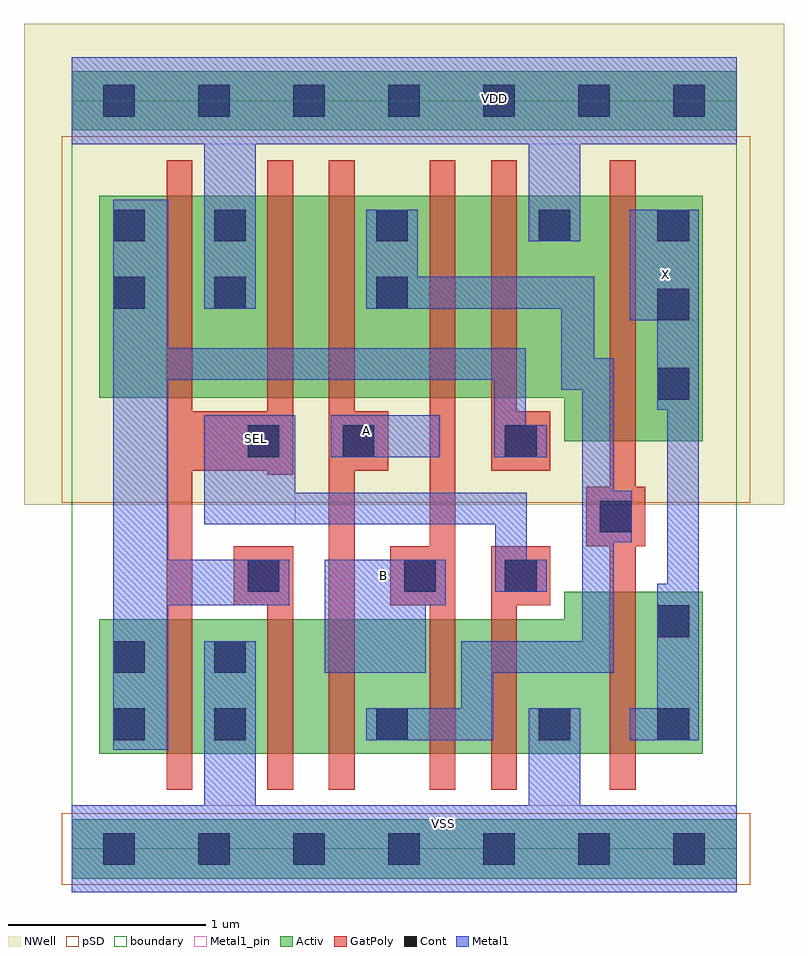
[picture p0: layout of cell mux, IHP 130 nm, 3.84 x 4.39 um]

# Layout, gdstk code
import gdstk
lib = gdstk.Library(unit=1e-6, precision=1e-09)
def R(c, l, rs):  # rectangles x0, y0, x1, y1
    for r in rs: c.add(gdstk.rectangle(r[:2], r[2:], *l))
def A(c, l, x, y, w, h, nx, ny, dx, dy):  # array of equal rectangles
    R(c, l, [(x+i*dx, y+j*dy, x+i*dx+w, y+j*dy+h) for i in range(nx) for j in range(ny)])
def P(c, l, *ps):  # polygons
    for p in ps: c.add(gdstk.Polygon(p, *l))
Activ = (1, 0)
GatPoly = (5, 0)
Cont = (6, 0)
Metal1 = (8, 0)
Metal1_pin = (8, 2)
pSD = (14, 0)
NWell = (31, 0)
boundary = (189, 4)

mux = lib.new_cell('mux')
R(mux, Activ, [(0,-0.15,3.36,0.15), (0.14,0.48,3.19,1.16), (2.49,0.48,3.19,1.3), (2.49,2.06,3.19,3.3), (0.14,2.28,3.19,3.3), (0,3.63,3.36,3.93)])
R(mux, GatPoly, [(0.48,0.3,0.61,3.48), (0.99,0.3,1.12,1.53), (1.3,0.3,1.43,1.53), (1.81,0.3,1.94,1.53), (2.12,0.3,2.25,1.53), (2.72,0.3,2.85,3.48), (0.82,1.23,1.12,1.53), (1.61,1.23,1.94,1.53), (1.81,1.23,1.94,3.48), (2.12,1.23,2.42,1.53), (1.3,1.4,1.43,3.48), (2.6,1.53,2.9,1.83), (0.99,1.89,1.12,3.48), (0.48,1.91,1.12,2.21), (1.3,1.91,1.6,2.21), (2.12,1.91,2.42,2.21), (2.12,1.91,2.25,3.48)])
A(mux, Cont, 0.16, -0.08, 0.16, 0.16, 7, 2, 0.48, 3.78)
A(mux, Cont, 0.72, 0.55, 0.16, 0.16, 3, 2, 0.82, 2.52)
A(mux, Cont, 2.96, 2.27, 0.16, 0.16, 1, 3, 0, 0.4)
R(mux, Cont, [(0.21,0.55,0.37,0.71), (2.96,0.55,3.12,0.71), (0.21,0.89,0.37,1.05), (0.72,0.89,0.88,1.05), (2.96,1.07,3.12,1.23), (0.89,1.3,1.05,1.46), (1.68,1.3,1.84,1.46), (2.19,1.3,2.35,1.46), (2.67,1.6,2.83,1.76), (0.89,1.98,1.05,2.14), (1.37,1.98,1.53,2.14), (2.19,1.98,2.35,2.14), (0.21,2.73,0.37,2.89), (0.72,2.73,0.88,2.89), (1.54,2.73,1.7,2.89), (0.21,3.07,0.37,3.23)])
R(mux, Metal1, [(0.67,-0.22,0.93,1.05), (2.31,-0.22,2.57,0.71), (0.21,0.5,0.49,3.28), (1.49,0.55,2.13,0.71), (1.97,0.55,2.13,1.05), (2.82,0.55,3.17,0.71), (2.96,0.55,3.17,1.34), (3.01,0.55,3.17,3.23), (1.28,0.89,1.79,1.46), (1.97,0.89,2.74,1.05), (2.58,0.89,2.74,2.48), (0.21,1.23,1.1,1.46), (1.28,1.23,1.89,1.46), (2.14,1.3,2.4,1.46), (2.14,1.3,2.3,1.8), (2.58,1.55,2.83,1.81), (0.67,1.64,1.13,2.19), (0.67,1.64,2.3,1.8), (1.31,1.98,1.86,2.19), (2.135,1.98,2.295,2.53), (2.135,1.98,2.4,2.14), (2.96,2.22,3.17,3.23), (2.475,2.32,2.74,2.48), (2.475,2.32,2.64,2.89), (0.21,2.37,2.295,2.53), (2.82,2.67,3.17,3.23), (0.67,2.73,0.93,4), (1.49,2.73,2.64,2.89), (1.49,2.73,1.75,3.23), (2.31,3.07,2.57,4)])
P(mux, Metal1, [(0,-0.22),(0,0.22),(1.375,0.22),(1.635,0.22),(2.735,0.22),(2.995,0.22),(3.36,0.22),(3.36,-0.22)],
  [(0,3.56),(0,4),(3.36,4),(3.36,3.56),(2.93,3.56),(2.33,3.56)])
R(mux, Metal1_pin, [(0,-0.22,3.36,0.22), (1.28,0.89,1.79,1.46), (0.67,1.64,1.13,2.19), (1.31,1.98,1.86,2.19), (2.82,2.67,3.17,3.23), (0,3.56,3.36,4)])
R(mux, pSD, [(-0.05,-0.18,3.43,0.18), (-0.05,1.75,3.43,3.6)])
R(mux, NWell, [(-0.24,1.74,3.6,4.17)])
R(mux, boundary, [(0,0,3.36,3.78)])
mux.add(gdstk.Label('VSS', (1.88,0.13), layer=8, texttype=25))
mux.add(gdstk.Label('VDD', (2.135,3.79), layer=8, texttype=25))
mux.add(gdstk.Label('B', (1.575,1.38), layer=8, texttype=25))
mux.add(gdstk.Label('A', (1.49,2.115), layer=8, texttype=25))
mux.add(gdstk.Label('SEL', (0.935,2.075), layer=8, texttype=25))
mux.add(gdstk.Label('X', (3,2.9), layer=8, texttype=25))

lib.write_gds('mux.gds')
